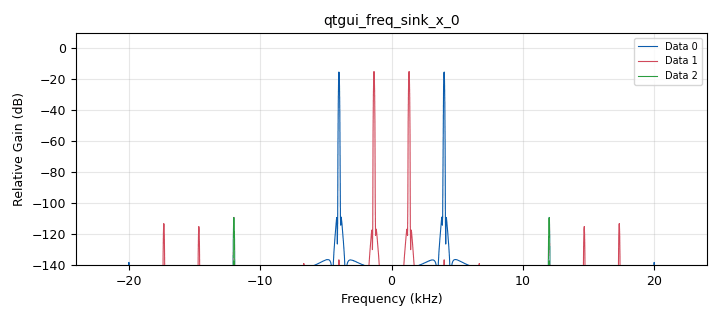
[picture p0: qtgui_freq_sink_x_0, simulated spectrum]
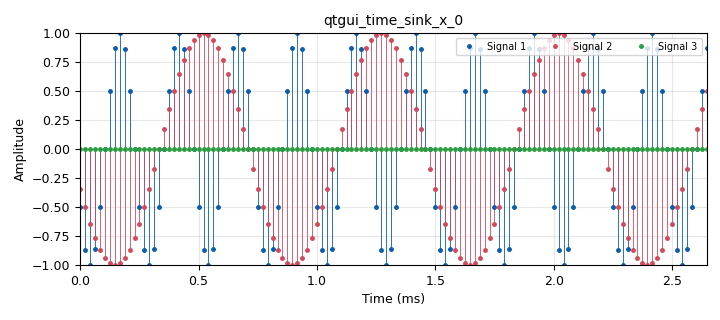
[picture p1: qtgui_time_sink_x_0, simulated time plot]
options:
  parameters:
    author: sebastian_suarez_jeanpaull_valencia_J1E_G3
    generate_options: qt_gui
    id: lab1_parteB_Punto4_J1E_G3
    output_language: python
    title: lab_1_PB_P4
  states: {}

blocks:
- name: freq
  id: variable_qtgui_range
  parameters:
    label: frequency
    start: '1000'
    step: '1000'
    stop: '40000'
    value: '4000'
  states: {}
- name: samp_rate
  id: variable
  parameters:
    value: '48000'
  states: {}
- name: analog_sig_source_x_0
  id: analog_sig_source_x
  parameters:
    amp: '1'
    freq: freq
    offset: '0'
    phase: '0'
    samp_rate: samp_rate
    type: float
    waveform: analog.GR_COS_WAVE
  states: {}
- name: analog_sig_source_x_0_0
  id: analog_sig_source_x
  parameters:
    amp: '1'
    freq: freq
    offset: '0'
    phase: '0'
    samp_rate: samp_rate
    type: float
    waveform: analog.GR_COS_WAVE
  states: {}
- name: analog_sig_source_x_0_1
  id: analog_sig_source_x
  parameters:
    amp: '1'
    freq: freq
    offset: '0'
    phase: '0'
    samp_rate: samp_rate
    type: float
    waveform: analog.GR_COS_WAVE
  states: {}
- name: blocks_throttle_0
  id: blocks_throttle
  parameters:
    samples_per_second: samp_rate
    type: float
  states: {}
- name: qtgui_freq_sink_x_0
  id: qtgui_freq_sink_x
  parameters:
    bw: samp_rate
    fc: '0'
    fftsize: '2048'
    nconnections: '3'
    type: float
  states: {}
- name: qtgui_time_sink_x_0
  id: qtgui_time_sink_x
  parameters:
    nconnections: '3'
    size: '128'
    srate: samp_rate
    stemplot: 'True'
    type: float
  states: {}
- name: rational_resampler_xxx_0
  id: rational_resampler_xxx
  parameters:
    decim: '1'
    interp: '1'
    type: fff
  states: {}
- name: rational_resampler_xxx_0_0
  id: rational_resampler_xxx
  parameters:
    decim: '1'
    interp: '3'
    type: fff
  states: {}
- name: rational_resampler_xxx_0_1
  id: rational_resampler_xxx
  parameters:
    decim: '9'
    interp: '1'
    type: fff
  states: {}

connections:
- [analog_sig_source_x_0, '0', rational_resampler_xxx_0, '0']
- [analog_sig_source_x_0_0, '0', rational_resampler_xxx_0_0, '0']
- [analog_sig_source_x_0_1, '0', rational_resampler_xxx_0_1, '0']
- [blocks_throttle_0, '0', qtgui_freq_sink_x_0, '0']
- [blocks_throttle_0, '0', qtgui_time_sink_x_0, '0']
- [rational_resampler_xxx_0, '0', blocks_throttle_0, '0']
- [rational_resampler_xxx_0_0, '0', qtgui_freq_sink_x_0, '1']
- [rational_resampler_xxx_0_0, '0', qtgui_time_sink_x_0, '1']
- [rational_resampler_xxx_0_1, '0', qtgui_freq_sink_x_0, '2']
- [rational_resampler_xxx_0_1, '0', qtgui_time_sink_x_0, '2']

metadata:
  file_format: 1
  grc_version: 3.10.5.1
